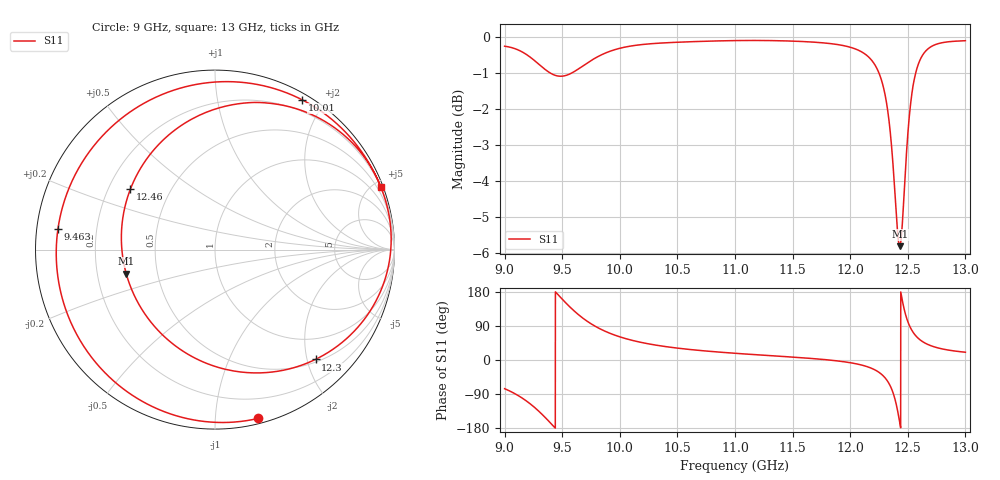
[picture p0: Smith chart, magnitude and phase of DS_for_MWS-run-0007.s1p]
! TOUCHSTONE file generated by CST DESIGN STUDIO
! Date and time: Tue Feb  4 14:01:43 2025
! Project name: C:\Work\MatlabApps\UnitCellOptimizationMatlab\CST\unitcell.cst
! Tree item: Tasks\Sweep1\SPara1\S-Parameters
! Header version: 2024
! Port assignment regex: !\s*Touchstone port\s*([0-9]+)\s*=\s*(CST MWS port|CST DES external port|CST DES block port)\s*(.+)\s* \(\"(.*)\"\)(\s*mode\s*([0-9]+))?.*
! Touchstone port assignment:
! Touchstone port 1 = CST DES external port 1 ("")
# GHz S MA R 50
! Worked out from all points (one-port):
!   4001 points, 9 GHz to 13 GHz, reference 50 ohm
!   lowest |S11| = -5.8 dB at 12.43 GHz (marker M1), VSWR 3.10, Z = 16.4 - j5.97 ohm
!   |S11| at or under -10 dB: nowhere
!   S11 on the Smith chart (normalised r, x): 9 GHz: 0.04, -1.29; 9.463 GHz: 0.06, +0.06; 10.01 GHz: 0.07, +1.74; 12.3 GHz: 0.55, -2.15; 12.46 GHz: 0.29, +0.30; 13 GHz: 0.19, +5.52
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9  0.9708 -75.7
9.136  0.9562 -97.2
9.241  0.9324 -120.3
9.365  0.898 -155.6
9.463  0.8826 172.6
9.5  0.8821 160.6
9.602  0.8947 129.9
9.705  0.9173 104.7
9.851  0.9461 78.9
10  0.9643 61.1
10.014  0.9656 59.8
10.222  0.977 44.2
10.5  0.9831 31.4
11  0.9884 17.7
11.5  0.9867 7.6
12  0.9676 -7.1
12.197  0.9234 -23.5
12.304  0.8293 -47.5
12.377  0.6468 -91.1
12.403  0.5584 -121.4
12.43  0.5125 -164.8
12.461  0.5795 144.4
12.5  0.7326 101.5
12.53  0.8216 81.2
12.57  0.893 63.6
12.654  0.9553 43.9
12.782  0.9804 30.4
13  0.988 20.5
